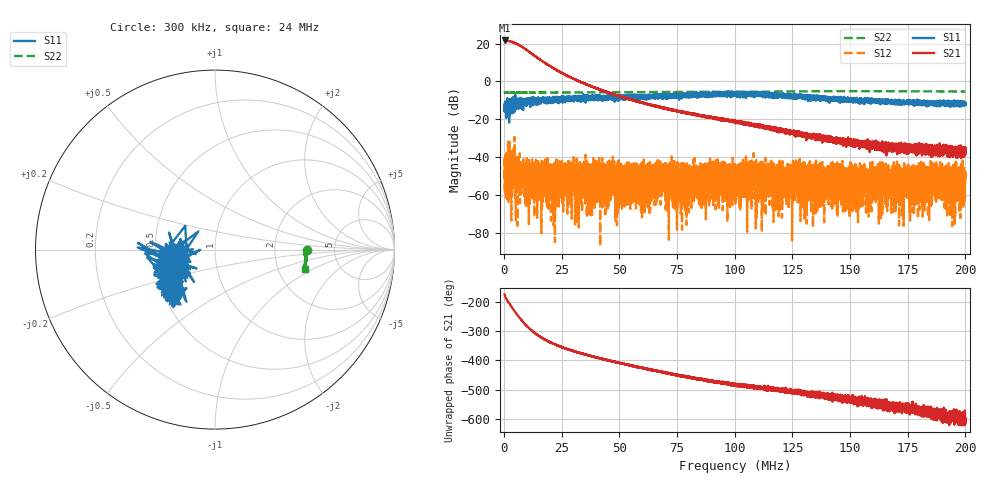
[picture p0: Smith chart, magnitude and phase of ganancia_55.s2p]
# Hz S DB R 50
! CMT, M5065, 19127446, 24.2.4/2
! Date: 11/8/2024 5:25:07 PM
! Data: Format (Calibration Info)
! Freq	S11:dB/Ang(F2)	S21:dB/Ang(F2)	S12:dB/Ang(F2)	S22:dB/Ang(F2)
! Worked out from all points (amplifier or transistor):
!   9000 points, 300 kHz to 200 MHz, reference 50 ohm
!   highest |S21| = 21.6 dB at 433.1 kHz (marker M1)
!   |S21| within 3 dB of that: start of sweep to 7.39 MHz
!   unconditionally stable (mu >= 1): start of sweep to end of sweep
!   at 33.59 MHz: K = 98.68, MAG = 1.7 dB, |S12| = -49.7 dB
!   at 100.2 MHz: K = 557.76, MAG = -17.4 dB, |S12| = -46.4 dB
!   at 200 MHz: K = 5762.60, MAG = -36.5 dB, |S12| = -46.5 dB
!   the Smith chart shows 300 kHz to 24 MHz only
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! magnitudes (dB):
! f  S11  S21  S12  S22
! 300 kHz  -12.3  21.6  -51.4  -5.8
! 433.1 kHz  -15.7  21.6  -41.8  -5.8
! 4.738 MHz  -12.7  20.3  -46.1  -5.9
! 11.26 MHz  -9.6  15.4  -43.8  -5.9
! 18.65 MHz  -11.7  9.1  -50.0  -5.9
! 21.4 MHz  -9.9  7.1  -46.7  -5.9
! 29.5 MHz  -9.5  1.8  -48.9  -5.8
! 33.59 MHz  -7.9  -0.4  -49.7  -5.8
! 46.37 MHz  -9.1  -6.3  -46.4  -5.6
! 49.08 MHz  -8.1  -7.2  -51.8  -5.6
! 51.1 MHz  -8.7  -8.1  -53.3  -5.6
! 66.87 MHz  -7.1  -13.4  -48.7  -5.5
! 77.02 MHz  -7.9  -16.2  -48.5  -5.5
! 100.2 MHz  -5.6  -20.3  -46.4  -5.4
! 133.4 MHz  -7.7  -29.2  -58.9  -5.2
! 164.6 MHz  -10.3  -33.8  -50.4  -5.1
! 166.7 MHz  -10.1  -33.1  -52.2  -5.1
! 177.5 MHz  -10.6  -34.4  -44.2  -5.2
! 183.3 MHz  -12.0  -34.9  -45.5  -5.2
! 186.6 MHz  -12.4  -34.8  -55.8  -5.2
! 194.2 MHz  -12.6  -36.8  -51.7  -5.3
! 200 MHz  -12.2  -38.3  -46.5  -5.3
